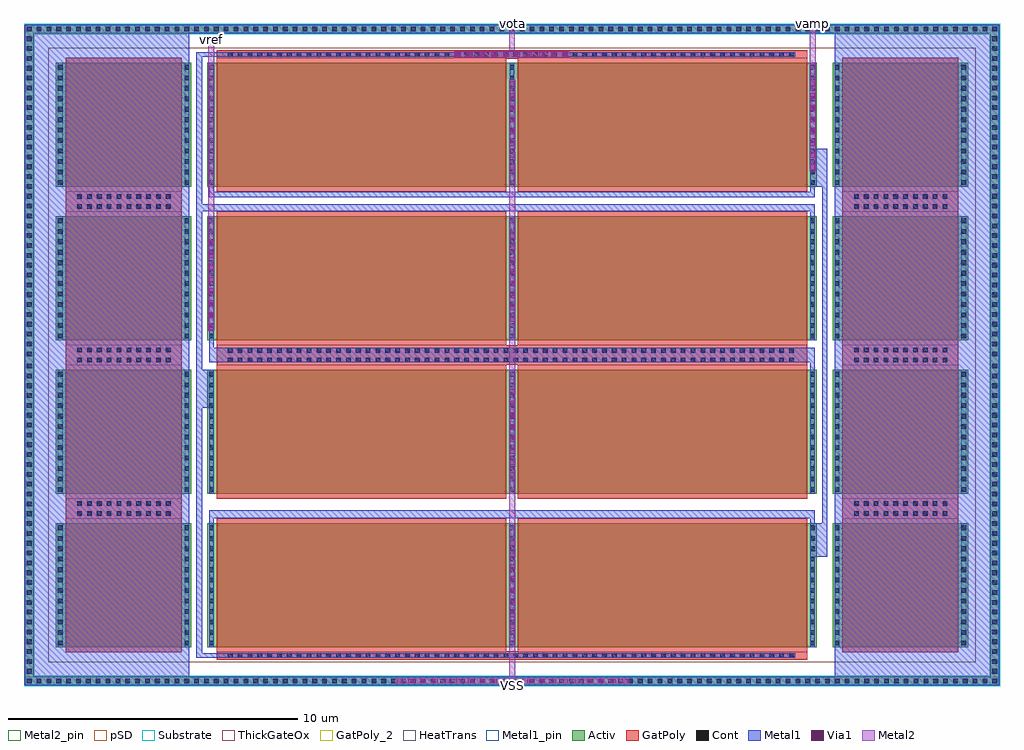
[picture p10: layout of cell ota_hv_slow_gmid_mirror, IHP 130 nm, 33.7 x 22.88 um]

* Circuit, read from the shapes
.subckt ota_hv_slow_gmid_mirror VSS vamp vota vref
XM1 VSS VSS VSS VSS sg13_hv_nmos w=4.275u l=4u m=8
XM2 VSS vota vamp VSS sg13_hv_nmos w=4.275u l=10u m=4
XM3 VSS vref vota VSS sg13_hv_nmos w=4.275u l=10u m=2
XM4 VSS vref vref VSS sg13_hv_nmos w=4.275u l=10u m=2
.ends

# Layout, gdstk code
import gdstk
lib = gdstk.Library(unit=1e-6, precision=1e-09)
def R(c, l, rs):  # rectangles x0, y0, x1, y1
    for r in rs: c.add(gdstk.rectangle(r[:2], r[2:], *l))
def A(c, l, x, y, w, h, nx, ny, dx, dy):  # array of equal rectangles
    R(c, l, [(x+i*dx, y+j*dy, x+i*dx+w, y+j*dy+h) for i in range(nx) for j in range(ny)])
def P(c, l, *ps):  # polygons
    for p in ps: c.add(gdstk.Polygon(p, *l))
Activ = (1, 0)
GatPoly = (5, 0)
GatPoly_2 = (5, 2)
Cont = (6, 0)
Metal1 = (8, 0)
Metal1_pin = (8, 2)
Metal2 = (10, 0)
Metal2_pin = (10, 2)
pSD = (14, 0)
Via1 = (19, 0)
Substrate = (40, 0)
ThickGateOx = (44, 0)
HeatTrans = (51, 0)

nmoshv_1 = lib.new_cell('nmosHV$1')
A(nmoshv_1, Activ, 0, 0, 0.3, 0.3, 3, 1, 10.38, 0)
R(nmoshv_1, Activ, [(0,0,21.06,4.275)])
R(nmoshv_1, GatPoly, [(0.34,-0.18,10.34,4.455), (10.72,-0.18,20.72,4.455)])
R(nmoshv_1, GatPoly_2, [(0.34,-0.18,10.34,4.455)])
A(nmoshv_1, Cont, 0.07, 0.07, 0.16, 0.16, 3, 4, 10.38, 0.36)
A(nmoshv_1, Cont, 0.07, 1.515, 0.16, 0.16, 3, 4, 10.38, 0.36)
A(nmoshv_1, Cont, 0.07, 2.96, 0.16, 0.16, 3, 3, 10.38, 0.36)
A(nmoshv_1, Cont, 0.07, 4.045, 0.16, 0.16, 3, 1, 10.38, 0)
A(nmoshv_1, Metal1, 0.07, 0, 0.16, 4.275, 3, 1, 10.38, 0)
R(nmoshv_1, Metal1_pin, [(0.07,0,0.23,4.275), (10.45,0,10.61,4.275)])
R(nmoshv_1, ThickGateOx, [(-0.27,-0.52,21.33,4.795)])
R(nmoshv_1, HeatTrans, [(0.34,-0.18,10.34,4.455), (10.72,-0.18,20.72,4.455)])
nmoshv_1.add(gdstk.Label('nmosHV', (5.34,2.138), layer=63, texttype=0))
nmoshv_1.add(gdstk.Label('nmosHV', (5.34,2.138), layer=51, texttype=0))
nmoshv_1.add(gdstk.Label('nmosHV', (15.72,2.138), layer=51, texttype=0))

nmoshv = lib.new_cell('nmosHV')
R(nmoshv, Activ, [(0,0,0.3,0.3), (0,0,4.68,4.275), (4.38,0,4.68,0.3)])
R(nmoshv, GatPoly, [(0.34,-0.18,4.34,4.455)])
R(nmoshv, GatPoly_2, [(0.34,-0.18,4.34,4.455)])
A(nmoshv, Cont, 0.07, 0.07, 0.16, 0.16, 1, 4, 0, 0.36)
A(nmoshv, Cont, 4.45, 0.07, 0.16, 0.16, 1, 4, 0, 0.36)
A(nmoshv, Cont, 0.07, 1.515, 0.16, 0.16, 1, 4, 0, 0.36)
A(nmoshv, Cont, 4.45, 1.515, 0.16, 0.16, 1, 4, 0, 0.36)
A(nmoshv, Cont, 0.07, 2.96, 0.16, 0.16, 1, 3, 0, 0.36)
A(nmoshv, Cont, 4.45, 2.96, 0.16, 0.16, 1, 3, 0, 0.36)
R(nmoshv, Cont, [(0.07,4.045,0.23,4.205), (4.45,4.045,4.61,4.205)])
R(nmoshv, Metal1, [(0.07,0,0.23,4.275), (4.45,0,4.61,4.275)])
R(nmoshv, Metal1_pin, [(0.07,0,0.23,4.275), (4.45,0,4.61,4.275)])
R(nmoshv, ThickGateOx, [(-0.27,-0.52,4.95,4.795)])
R(nmoshv, HeatTrans, [(0.34,-0.18,4.34,4.455)])
nmoshv.add(gdstk.Label('nmosHV', (2.34,2.138), layer=63, texttype=0))
nmoshv.add(gdstk.Label('nmosHV', (2.34,2.138), layer=51, texttype=0))

guard_ring = lib.new_cell('guard_ring')
R(guard_ring, Activ, [(-16.82,-11.11,-16.52,11.11), (16.52,-11.11,16.82,11.11), (-16.82,11.11,16.82,11.41)])
P(guard_ring, Activ, [(-16.82,-11.41),(-16.82,11.11),(-16.52,11.11),(-16.52,-11.11),(16.52,-11.11),(16.52,11.11),(-16.82,11.11),(-16.82,11.41),(16.82,11.41),(16.82,-11.41)])
A(guard_ring, Cont, -16.75, -11.34, 0.16, 0.16, 49, 2, 0.34, 22.52)
A(guard_ring, Cont, -0.07, -11.34, 0.16, 0.16, 50, 2, 0.34, 22.52)
A(guard_ring, Cont, -16.75, -11, 0.16, 0.16, 1, 32, 0, 0.34)
A(guard_ring, Cont, 16.59, -11, 0.16, 0.16, 1, 32, 0, 0.34)
A(guard_ring, Cont, -16.75, -0.04, 0.16, 0.16, 1, 33, 0, 0.34)
A(guard_ring, Cont, 16.59, -0.04, 0.16, 0.16, 1, 33, 0, 0.34)
R(guard_ring, Metal1, [(-16.82,-11.41,16.82,-11.11), (-16.82,-11.11,-16.52,11.11), (16.52,-11.11,16.82,11.11), (-16.82,11.11,16.82,11.41)])
R(guard_ring, pSD, [(-16.85,-11.08,-16.49,11.08), (16.49,-11.08,16.85,11.08), (-16.85,11.08,16.85,11.44)])
P(guard_ring, pSD, [(-16.85,-11.44),(-16.85,11.08),(-16.49,11.08),(-16.49,-11.08),(16.49,-11.08),(16.49,11.08),(-16.85,11.08),(-16.85,11.44),(16.85,11.44),(16.85,-11.44)])
R(guard_ring, Substrate, [(-16.85,-11.08,-16.49,11.08), (16.49,-11.08,16.85,11.08), (-16.85,11.08,16.85,11.44)])
P(guard_ring, Substrate, [(-16.85,-11.44),(-16.85,11.08),(-16.49,11.08),(-16.49,-11.08),(16.49,-11.08),(16.49,11.08),(-16.85,11.08),(-16.85,11.44),(16.85,11.44),(16.85,-11.44)])
guard_ring.add(gdstk.Label('sub!', (0,-11.26), layer=63, texttype=0))

via_stack_6 = lib.new_cell('via_stack$6')
R(via_stack_6, GatPoly, [(-9.84,-0.32,9.84,0.32)])
A(via_stack_6, Cont, -9.77, -0.25, 0.16, 0.16, 58, 2, 0.34, 0.34)
R(via_stack_6, Metal1, [(-9.82,-0.25,9.82,0.25)])

via_stack_7 = lib.new_cell('via_stack$7')
R(via_stack_7, Metal1, [(-0.105,-1.58,0.105,1.58)])
R(via_stack_7, Metal2, [(-0.1,-1.58,0.1,1.58)])
A(via_stack_7, Via1, -0.095, -1.53, 0.19, 0.19, 1, 8, 0, 0.41)

via_stack_8 = lib.new_cell('via_stack$8')
R(via_stack_8, GatPoly, [(-9.84,-0.15,9.84,0.15)])
A(via_stack_8, Cont, -9.77, -0.08, 0.16, 0.16, 58, 1, 0.34, 0)
R(via_stack_8, Metal1, [(-9.82,-0.08,9.82,0.08)])

via_stack_10 = lib.new_cell('via_stack$10')
R(via_stack_10, Metal1, [(-4.04,-0.105,4.04,0.105)])
R(via_stack_10, Metal2, [(-4.04,-0.1,4.04,0.1)])
A(via_stack_10, Via1, -3.99, -0.095, 0.19, 0.19, 20, 1, 0.41, 0)

via_stack_12 = lib.new_cell('via_stack$12')
R(via_stack_12, Metal1, [(-1.99,-0.105,1.99,0.105)])
R(via_stack_12, Metal2, [(-1.99,-0.1,1.99,0.1)])
A(via_stack_12, Via1, -1.94, -0.095, 0.19, 0.19, 10, 1, 0.41, 0)

via_stack_14 = lib.new_cell('via_stack$14')
R(via_stack_14, GatPoly, [(-1.68,-0.32,1.68,0.32)])
A(via_stack_14, Cont, -1.61, -0.25, 0.16, 0.16, 10, 2, 0.34, 0.34)
R(via_stack_14, Metal1, [(-1.66,-0.25,1.66,0.25)])

ota_hv_slow_gmid_mirror = lib.new_cell('ota_hv_slow_gmid_mirror')
A(ota_hv_slow_gmid_mirror, GatPoly, 1.44, 5.805, 4, 0.665, 1, 3, 0, 5.3)
A(ota_hv_slow_gmid_mirror, GatPoly, 28.26, 5.805, 4, 0.665, 1, 3, 0, 5.3)
R(ota_hv_slow_gmid_mirror, GatPoly, [(6.66,0.91,27.04,1.17), (6.66,11.105,27.04,11.77), (6.66,21.705,27.04,21.965)])
R(ota_hv_slow_gmid_mirror, Metal1, [(0.03,0.03,5.71,22.85), (27.99,0.03,33.67,22.85), (5.945,0.98,6.155,21.895), (5.945,0.98,7.2,1.14), (27.15,4.47,27.73,5.625), (27.565,4.47,27.73,18.56), (27.15,5.415,27.31,6.075), (6.39,5.545,6.55,6.075), (6.39,5.805,27.31,6.075), (5.945,9.61,6.55,10.925), (27.15,10.92,27.31,11.685), (6.39,11.185,6.55,12.095), (6.39,11.185,7.295,11.685), (26.53,11.185,27.31,11.685), (27.15,15.83,27.31,16.64), (5.945,16.405,27.31,16.64), (6.39,16.88,6.55,17.33), (6.39,16.88,27.31,17.07), (27.15,16.88,27.31,17.46), (27.15,17.25,27.73,18.56), (5.945,21.735,7.215,21.895)])
R(ota_hv_slow_gmid_mirror, Metal1_pin, [(0.03,0.03,33.67,0.33)])
R(ota_hv_slow_gmid_mirror, Metal2, [(16.755,0.03,16.955,18.025), (6.37,15.325,6.57,22.33), (27.13,20.51,27.33,22.88), (16.75,21.72,16.95,22.88)])
R(ota_hv_slow_gmid_mirror, Metal2_pin, [(6.37,22.055,6.57,22.33), (16.75,22.575,16.95,22.88), (27.13,22.59,27.33,22.88)])
r = gdstk.Reference(nmoshv_1, (6.32,1.35)); r.repetition = gdstk.Repetition(1, 4, v1=(0,0), v2=(0,5.3)); ota_hv_slow_gmid_mirror.add(r)
r = gdstk.Reference(nmoshv, (1.1,1.35)); r.repetition = gdstk.Repetition(2, 4, v1=(26.82,0), v2=(0,5.3)); ota_hv_slow_gmid_mirror.add(r)
ota_hv_slow_gmid_mirror.add(gdstk.Reference(guard_ring, (16.85,11.44)))
ota_hv_slow_gmid_mirror.add(gdstk.Reference(via_stack_6, (16.81,11.435)))
ota_hv_slow_gmid_mirror.add(gdstk.Reference(via_stack_7, (16.855,14.11)))
ota_hv_slow_gmid_mirror.add(gdstk.Reference(via_stack_7, (16.855,8.745)))
ota_hv_slow_gmid_mirror.add(gdstk.Reference(via_stack_7, (16.855,19.365)))
ota_hv_slow_gmid_mirror.add(gdstk.Reference(via_stack_7, (16.855,3.51)))
ota_hv_slow_gmid_mirror.add(gdstk.Reference(via_stack_8, (16.81,1.06)))
ota_hv_slow_gmid_mirror.add(gdstk.Reference(via_stack_10, (16.855,0.185)))
ota_hv_slow_gmid_mirror.add(gdstk.Reference(via_stack_8, (16.81,21.815), x_reflection=True))
ota_hv_slow_gmid_mirror.add(gdstk.Reference(via_stack_7, (6.47,13.85)))
ota_hv_slow_gmid_mirror.add(gdstk.Reference(via_stack_7, (27.23,19.365)))
ota_hv_slow_gmid_mirror.add(gdstk.Reference(via_stack_12, (16.84,21.82)))
ota_hv_slow_gmid_mirror.add(gdstk.Reference(via_stack_14, (3.45,16.74)))
ota_hv_slow_gmid_mirror.add(gdstk.Reference(via_stack_14, (3.45,11.44)))
ota_hv_slow_gmid_mirror.add(gdstk.Reference(via_stack_14, (3.45,6.14)))
ota_hv_slow_gmid_mirror.add(gdstk.Reference(via_stack_14, (30.27,16.74)))
ota_hv_slow_gmid_mirror.add(gdstk.Reference(via_stack_14, (30.27,11.44)))
ota_hv_slow_gmid_mirror.add(gdstk.Reference(via_stack_14, (30.27,6.14)))
ota_hv_slow_gmid_mirror.add(gdstk.Label('VSS', (16.85,0.03), layer=8, texttype=2))
ota_hv_slow_gmid_mirror.add(gdstk.Label('vref', (6.47,22.33), layer=10, texttype=2))
ota_hv_slow_gmid_mirror.add(gdstk.Label('vota', (16.85,22.88), layer=10, texttype=2))
ota_hv_slow_gmid_mirror.add(gdstk.Label('vamp', (27.23,22.88), layer=10, texttype=2))

lib.write_gds('ota_hv_slow_gmid_mirror.gds')
